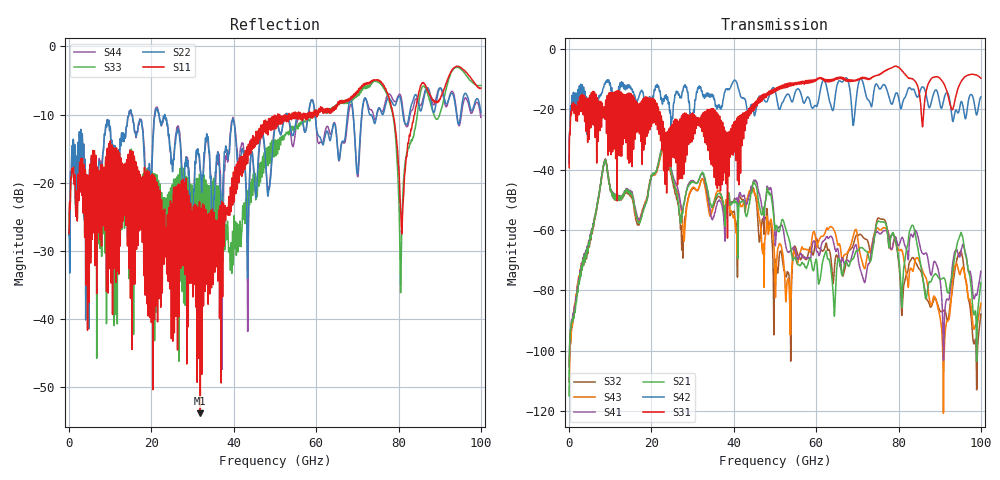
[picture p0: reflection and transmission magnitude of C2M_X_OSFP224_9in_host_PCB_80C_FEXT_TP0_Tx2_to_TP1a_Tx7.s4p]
# GHz S RI R 45
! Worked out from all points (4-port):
!   4000 points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, 25 MHz to 100 GHz, reference 45 ohm
!   strongest paths, dB at 25 MHz, 25.02 GHz, 50.02 GHz, 75.03 GHz, 100 GHz:
!     S31: -39.4, -25.1, -13.1, -8.8, -9.8
!     S42: -38.0, -22.6, -13.7, -12.5, -15.9
!     S21: -114.9, -42.3, -60.1, -57.1, -77.4
!     S41: -104.0, -41.0, -64.1, -60.7, -73.7
!     S43: -110.3, -42.4, -75.6, -59.4, -84.2
!     S32: -105.2, -43.5, -70.9, -56.1, -87.9
!   lowest |S11| = -53.8 dB at 31.88 GHz (marker M1), VSWR 1.00, Z = 44.9 - j0.165 ohm
!   |S11| at or under -10 dB: start of sweep to 50.7 GHz; 51.11 GHz to 53.38 GHz (2.266 GHz wide, 4.34 % of centre); 78.72 GHz to 83.89 GHz (5.179 GHz wide, 6.37 % of centre)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
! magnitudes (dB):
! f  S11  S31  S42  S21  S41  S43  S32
! 25 MHz  -27.5  -39.4  -38.0  -114.9  -104.0  -110.3  -105.2
! 8.7 GHz  -27.0  -22.6  -11.6  -37.1  -36.8  -36.8  -37.1
! 31.88 GHz  -53.8  -23.7  -12.8  -42.1  -42.3  -44.4  -44.6
! 53 GHz  -10.2  -12.0  -15.1  -61.4  -67.1  -76.6  -73.8
! 75.42 GHz  -5.0  -8.6  -13.4  -57.2  -61.3  -60.0  -56.3
! 80.55 GHz  -24.4  -6.9  -19.8  -77.9  -63.3  -66.5  -80.1
! 100 GHz  -6.1  -9.8  -15.9  -77.4  -73.7  -84.2  -87.9
